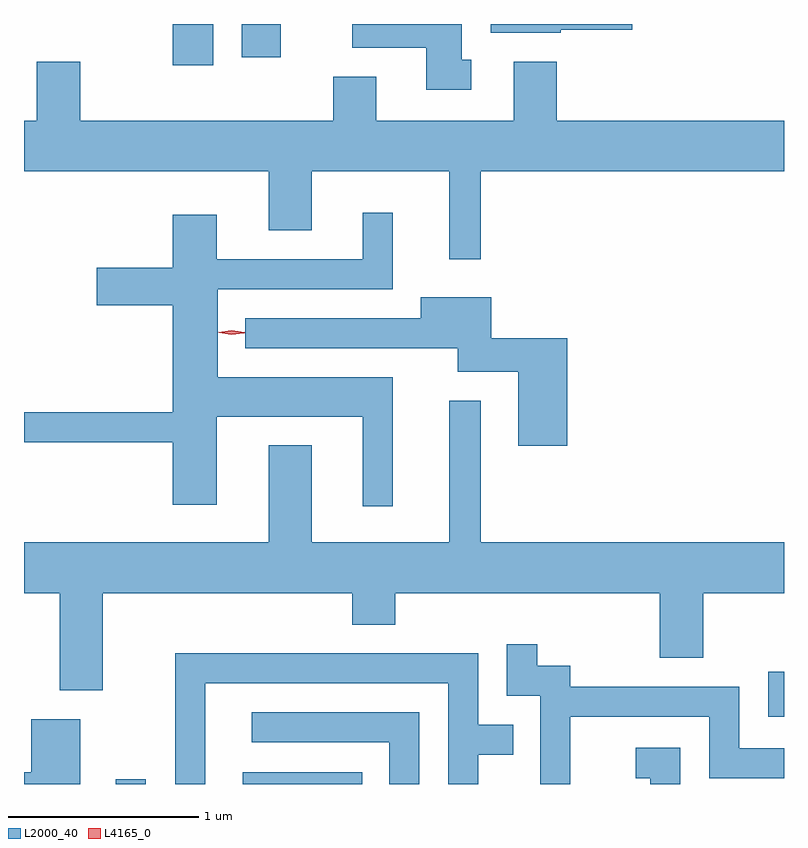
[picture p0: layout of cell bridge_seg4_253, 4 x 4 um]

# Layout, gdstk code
import gdstk
lib = gdstk.Library(unit=1e-6, precision=1e-09)
def R(c, l, rs):  # rectangles x0, y0, x1, y1
    for r in rs: c.add(gdstk.rectangle(r[:2], r[2:], *l))
def P(c, l, *ps):  # polygons
    for p in ps: c.add(gdstk.Polygon(p, *l))
L2000_40 = (2000, 40)
L4165_0 = (4165, 0)

bridge_seg4_253 = lib.new_cell('bridge_seg4_253')
R(bridge_seg4_253, L2000_40, [(664.176,1327.032,664.334,1327.058), (664.846,1327.032,665.473,1327.094), (667.611,1327.386,667.694,1327.623), (664.476,1330.816,664.689,1331.032), (664.841,1330.856,665.044,1331.032), (663.694,1331.031,663.964,1331.032)])
P(bridge_seg4_253, L2000_40, [(666.048,1330.844),(665.999,1330.844),(665.999,1331.032),(665.421,1331.032),(665.421,1330.906),(665.811,1330.906),(665.811,1330.686),(666.048,1330.686)],
  [(666.52,1331.001),(666.894,1331.001),(666.894,1331.032),(666.151,1331.032),(666.151,1330.986),(666.52,1330.986)],
  [(666.099,1330.256),(667.694,1330.256),(667.694,1330.524),(666.499,1330.524),(666.499,1330.834),(666.271,1330.834),(666.271,1330.524),(665.549,1330.524),(665.549,1330.754),(665.321,1330.754),(665.321,1330.524),(663.989,1330.524),(663.989,1330.834),(663.761,1330.834),(663.761,1330.524),(663.694,1330.524),(663.694,1330.256),(664.981,1330.256),(664.981,1329.946),(665.209,1329.946),(665.209,1330.256),(665.931,1330.256),(665.931,1329.793),(666.099,1329.793)],
  [(665.634,1329.174),(664.714,1329.174),(664.714,1329.636),(665.634,1329.636),(665.634,1330.038),(665.476,1330.038),(665.476,1329.794),(664.709,1329.794),(664.709,1330.029),(664.476,1330.029),(664.476,1329.749),(664.076,1329.749),(664.076,1329.551),(664.476,1329.551),(664.476,1328.989),(663.694,1328.989),(663.694,1328.831),(664.476,1328.831),(664.476,1328.501),(664.709,1328.501),(664.709,1328.966),(665.476,1328.966),(665.476,1328.493),(665.634,1328.493)],
  [(666.554,1329.379),(666.154,1329.379),(666.154,1329.594),(665.781,1329.594),(665.781,1329.484),(664.858,1329.484),(664.858,1329.326),(665.976,1329.326),(665.976,1329.201),(666.296,1329.201),(666.296,1328.811),(666.554,1328.811)],
  [(664.109,1328.036),(665.421,1328.036),(665.421,1327.871),(665.649,1327.871),(665.649,1328.036),(667.041,1328.036),(667.041,1327.696),(667.269,1327.696),(667.269,1328.036),(667.694,1328.036),(667.694,1328.304),(666.099,1328.304),(666.099,1329.048),(665.931,1329.048),(665.931,1328.304),(665.209,1328.304),(665.209,1328.814),(664.981,1328.814),(664.981,1328.304),(663.694,1328.304),(663.694,1328.036),(663.881,1328.036),(663.881,1327.526),(664.109,1327.526)],
  [(666.569,1327.386),(667.301,1327.386),(667.301,1327.061),(667.694,1327.061),(667.694,1327.219),(667.459,1327.219),(667.459,1327.544),(666.569,1327.544),(666.569,1327.654),(666.394,1327.654),(666.394,1327.768),(666.236,1327.768),(666.236,1327.496),(666.411,1327.496),(666.411,1327.032),(666.569,1327.032)],
  [(664.649,1327.561),(665.926,1327.561),(665.926,1327.032),(666.084,1327.032),(666.084,1327.186),(666.268,1327.186),(666.268,1327.344),(666.084,1327.344),(666.084,1327.719),(664.491,1327.719),(664.491,1327.032),(664.649,1327.032)],
  [(665.774,1327.409),(664.893,1327.409),(664.893,1327.251),(665.616,1327.251),(665.616,1327.032),(665.774,1327.032)],
  [(663.989,1327.374),(663.731,1327.374),(663.731,1327.094),(663.694,1327.094),(663.694,1327.032),(663.989,1327.032)],
  [(667.149,1327.224),(666.913,1327.224),(666.913,1327.061),(666.991,1327.061),(666.991,1327.032),(667.149,1327.032)])
P(bridge_seg4_253, L4165_0, [(664.786,1329.399),(664.717,1329.409),(664.717,1329.41),(664.717,1329.41),(664.787,1329.419),(664.856,1329.409),(664.856,1329.408),(664.856,1329.408)],
  [(664.786,1329.396),(664.721,1329.406),(664.72,1329.406),(664.721,1329.407),(664.787,1329.416),(664.852,1329.406),(664.853,1329.406),(664.852,1329.405)])

lib.write_gds('bridge_seg4_253.gds')
